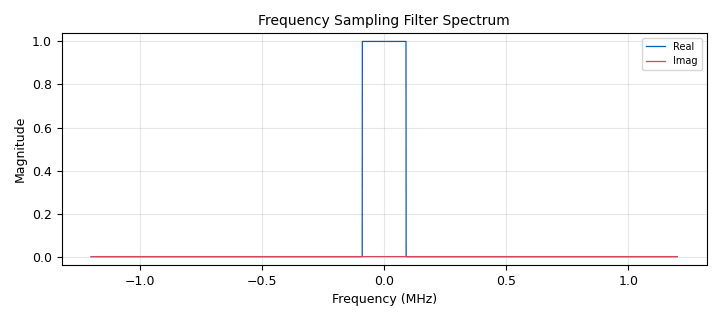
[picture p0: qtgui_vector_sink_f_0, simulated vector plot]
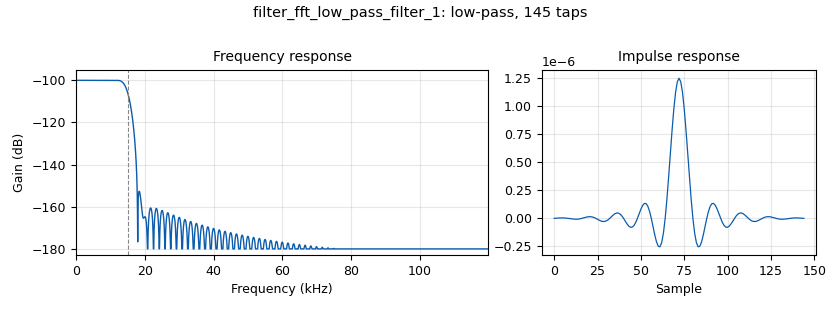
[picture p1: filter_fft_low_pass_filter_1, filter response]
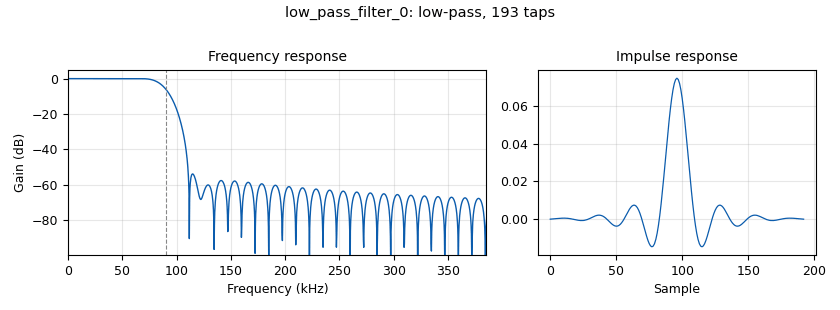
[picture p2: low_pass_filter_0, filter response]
options:
  parameters:
    author: Gary Schafer
    generate_options: qt_gui
    id: spectralFilter
    output_language: python
    title: Demonstration of Spectral Filter
  states: {}

blocks:
- name: N
  id: variable
  parameters:
    value: 2**13
  states: {}
- name: bins
  id: variable
  parameters:
    comment: 'Value: bw*N/samp_rate'
    value: bw*N/samp_rate
  states: {}
- name: bw
  id: variable
  parameters:
    value: 180e3
  states: {}
- name: passband
  id: variable
  parameters:
    comment: 'Value: (0,)*int(N/2-sidebins)+(1,)*int(sidebins*2)+(0,)*int(N/2-sidebins)'
    value: (0,)*int(N/2-sidebins)+(1,)*int(sidebins*2)+(0,)*int(N/2-sidebins)
  states: {}
- name: samp_rate
  id: variable
  parameters:
    value: 2.4e6
  states: {}
- name: sidebins
  id: variable
  parameters:
    comment: 'Value: int((int(bins)-1)/2)'
    value: int((int(bins)-1)/2)
  states: {}
- name: volume
  id: variable_qtgui_range
  parameters:
    gui_hint: 1,0,1,20
    label: Volume (dB)
    start: '-140'
    step: '0.1'
    stop: '30'
    value: '-100'
  states: {}
- name: analog_fm_deemph_0
  id: analog_fm_deemph
  parameters:
    samp_rate: 48e3
    tau: '75e-6'
  states: {}
- name: analog_quadrature_demod_cf_0
  id: analog_quadrature_demod_cf
  parameters:
    comment: 'Gain: (samp_rate/10)/(2*math.pi*85e3)'
    gain: (samp_rate/10)/(2*math.pi*85e3)
  states: {}
- name: analog_quadrature_demod_cf_0_0
  id: analog_quadrature_demod_cf
  parameters:
    comment: 'Gain: (samp_rate/10)/(2*math.pi*85e3)'
    gain: (samp_rate/10)/(2*math.pi*85e3)
  states: {}
- name: audio_sink_0
  id: audio_sink
  parameters:
    samp_rate: '48000'
  states: {}
- name: blocks_complex_to_float_0
  id: blocks_complex_to_float
  parameters: {}
  states: {}
- name: blocks_file_source_0
  id: blocks_file_source
  parameters:
    file: /home/gary/SDR-Software/gnuradio/iq-files/FM Broadcast/FM-90M9CF-2M4FS-03.cf32
    repeat: 'True'
    type: complex
  states: {}
- name: blocks_keep_one_in_n_0
  id: blocks_keep_one_in_n
  parameters:
    comment: 'N: 10'
    n: '10'
    type: complex
  states: {}
- name: blocks_multiply_const_vxx_0
  id: blocks_multiply_const_vxx
  parameters:
    comment: |-
      This multiplies the spectrum
      of the signal with vector of
      1 for passing a signal and 0
      for stopping a signal.
    const: passband
    type: complex
    vlen: N
  states: {}
- name: blocks_multiply_const_vxx_0_0
  id: blocks_multiply_const_vxx
  parameters:
    comment: |-
      This multiplies the spectrum
      of the signal with vector of
      1 for passing a signal and 0
      for stopping a signal.
    const: passband
    type: complex
    vlen: N
  states: {}
- name: blocks_multiply_const_vxx_1
  id: blocks_multiply_const_vxx
  parameters:
    const: N
    type: complex
  states: {}
- name: blocks_stream_to_vector_0
  id: blocks_stream_to_vector
  parameters:
    num_items: N
    type: complex
  states: {}
- name: blocks_stream_to_vector_0_0
  id: blocks_stream_to_vector
  parameters:
    num_items: N
    type: complex
  states: {}
- name: blocks_stream_to_vector_1
  id: blocks_stream_to_vector
  parameters:
    num_items: N
    type: float
  states: {}
- name: blocks_stream_to_vector_1_0
  id: blocks_stream_to_vector
  parameters:
    num_items: N
    type: float
  states: {}
- name: blocks_throttle_0
  id: blocks_throttle
  parameters:
    samples_per_second: samp_rate
    type: complex
  states: {}
- name: blocks_vector_source_x_0
  id: blocks_vector_source_x
  parameters:
    comment: |-
      Create impulse to see
      impulse response
    repeat: 'True'
    type: complex
    vector: (0,)*int((N/2)-1)+(1,)+(0,)*int(N/2)
  states: {}
- name: blocks_vector_source_x_1
  id: blocks_vector_source_x
  parameters:
    repeat: 'True'
    type: complex
    vector: passband
  states: {}
- name: blocks_vector_to_stream_0
  id: blocks_vector_to_stream
  parameters:
    num_items: N
    type: complex
  states: {}
- name: blocks_vector_to_stream_0_0
  id: blocks_vector_to_stream
  parameters:
    num_items: N
    type: complex
  states: {}
- name: fft_vxx_0
  id: fft_vxx
  parameters:
    fft_size: N
    forward: 'True'
    shift: 'True'
    type: complex
    window: (1,)*N
  states: {}
- name: fft_vxx_0_0
  id: fft_vxx
  parameters:
    fft_size: N
    forward: 'True'
    shift: 'True'
    type: complex
    window: (1,)*N
  states: {}
- name: fft_vxx_1
  id: fft_vxx
  parameters:
    fft_size: N
    forward: 'False'
    shift: 'True'
    type: complex
    window: (1/N,)*N
  states: {}
- name: fft_vxx_1_0
  id: fft_vxx
  parameters:
    fft_size: N
    forward: 'False'
    shift: 'True'
    type: complex
    window: (1/N,)*N
  states: {}
- name: filter_fft_low_pass_filter_1
  id: filter_fft_low_pass_filter
  parameters:
    cutoff_freq: 15e3
    decim: '5'
    gain: 10**(volume/20)
    samp_rate: 240e3
    type: fff
    width: '4000'
    win: window.WIN_HAMMING
  states: {}
- name: import_0
  id: import
  parameters:
    imports: from math import pi
  states: {}
- name: low_pass_filter_0
  id: low_pass_filter
  parameters:
    cutoff_freq: 90e3
    decim: '10'
    gain: '1'
    samp_rate: samp_rate
    type: fir_filter_ccf
    width: 30e3
    win: window.WIN_HAMMING
  states: {}
- name: myTabs
  id: qtgui_tab_widget
  parameters:
    gui_hint: 3,0,20,20
    label0: Filter Shape
    label1: RF Spectrum
    label2: Filtered Time Domain
    label3: Filtered Constellation
    label4: Baseband Spectrum
    num_tabs: '5'
  states: {}
- name: qtgui_const_sink_x_0
  id: qtgui_const_sink_x
  parameters:
    color1: '"black"'
    grid: 'True'
    gui_hint: myTabs@3
    legend: 'False'
    marker1: '-1'
    name: Filtered Constellation
    size: N*4
    style1: '1'
    type: complex
  states: {}
- name: qtgui_freq_sink_x_0
  id: qtgui_freq_sink_x
  parameters:
    bw: samp_rate
    color1: '"black"'
    fc: '0'
    fftsize: N
    grid: 'True'
    gui_hint: myTabs@1
    label1: Original Spectrum
    label2: Filtered Spectrum
    label3: Filter Overlay
    name: Original & Filtered Spectra
    nconnections: '3'
    type: complex
  states: {}
- name: qtgui_freq_sink_x_1
  id: qtgui_freq_sink_x
  parameters:
    bw: samp_rate
    color1: '"black"'
    fc: '0'
    fftsize: '4096'
    freqhalf: 'False'
    grid: 'True'
    gui_hint: myTabs@4
    label1: Freq Sample Filter
    label2: Windowed-Sinc Filter
    nconnections: '2'
    type: float
    ymax: '-20'
    ymin: '-120'
  states: {}
- name: qtgui_time_sink_x_0
  id: qtgui_time_sink_x
  parameters:
    gui_hint: myTabs@2
    label1: Real
    label2: Imag
    size: N*4
    srate: '1'
    type: complex
  states: {}
- name: qtgui_vector_sink_f_0
  id: qtgui_vector_sink_f
  parameters:
    grid: 'True'
    gui_hint: myTabs@0
    label1: Real
    label2: Imag
    name: Frequency Sampling Filter Spectrum
    nconnections: '2'
    vlen: N
    width1: '2'
    width2: '2'
    x_axis_label: '"Frequency (MHz)"'
    x_start: '-samp_rate/2e6'
    x_step: samp_rate/N/1e6
    x_units: '"MHz"'
    y_axis_label: '"Magnitude"'
    ymax: '1'
    ymin: '0'
  states: {}
- name: virtual_sink_0
  id: virtual_sink
  parameters:
    stream_id: original_signal
  states: {}
- name: virtual_sink_1
  id: virtual_sink
  parameters:
    stream_id: filtered_signal
  states: {}
- name: virtual_source_0
  id: virtual_source
  parameters:
    stream_id: original_signal
  states: {}
- name: virtual_source_1
  id: virtual_source
  parameters:
    stream_id: filtered_signal
  states: {}

connections:
- [analog_fm_deemph_0, '0', audio_sink_0, '0']
- [analog_quadrature_demod_cf_0, '0', filter_fft_low_pass_filter_1, '0']
- [analog_quadrature_demod_cf_0, '0', qtgui_freq_sink_x_1, '0']
- [analog_quadrature_demod_cf_0_0, '0', qtgui_freq_sink_x_1, '1']
- [blocks_complex_to_float_0, '0', blocks_stream_to_vector_1, '0']
- [blocks_complex_to_float_0, '1', blocks_stream_to_vector_1_0, '0']
- [blocks_file_source_0, '0', blocks_throttle_0, '0']
- [blocks_keep_one_in_n_0, '0', analog_quadrature_demod_cf_0, '0']
- [blocks_multiply_const_vxx_0, '0', fft_vxx_1, '0']
- [blocks_multiply_const_vxx_0_0, '0', fft_vxx_1_0, '0']
- [blocks_multiply_const_vxx_1, '0', qtgui_freq_sink_x_0, '2']
- [blocks_stream_to_vector_0, '0', fft_vxx_0, '0']
- [blocks_stream_to_vector_0_0, '0', fft_vxx_0_0, '0']
- [blocks_stream_to_vector_1, '0', qtgui_vector_sink_f_0, '0']
- [blocks_stream_to_vector_1_0, '0', qtgui_vector_sink_f_0, '1']
- [blocks_throttle_0, '0', blocks_stream_to_vector_0, '0']
- [blocks_throttle_0, '0', low_pass_filter_0, '0']
- [blocks_throttle_0, '0', virtual_sink_0, '0']
- [blocks_vector_source_x_0, '0', blocks_stream_to_vector_0_0, '0']
- [blocks_vector_source_x_1, '0', blocks_complex_to_float_0, '0']
- [blocks_vector_to_stream_0, '0', blocks_keep_one_in_n_0, '0']
- [blocks_vector_to_stream_0, '0', qtgui_const_sink_x_0, '0']
- [blocks_vector_to_stream_0, '0', qtgui_time_sink_x_0, '0']
- [blocks_vector_to_stream_0, '0', virtual_sink_1, '0']
- [blocks_vector_to_stream_0_0, '0', blocks_multiply_const_vxx_1, '0']
- [fft_vxx_0, '0', blocks_multiply_const_vxx_0, '0']
- [fft_vxx_0_0, '0', blocks_multiply_const_vxx_0_0, '0']
- [fft_vxx_1, '0', blocks_vector_to_stream_0, '0']
- [fft_vxx_1_0, '0', blocks_vector_to_stream_0_0, '0']
- [filter_fft_low_pass_filter_1, '0', analog_fm_deemph_0, '0']
- [low_pass_filter_0, '0', analog_quadrature_demod_cf_0_0, '0']
- [virtual_source_0, '0', qtgui_freq_sink_x_0, '0']
- [virtual_source_1, '0', qtgui_freq_sink_x_0, '1']

metadata:
  file_format: 1
  grc_version: 3.10.9.2
